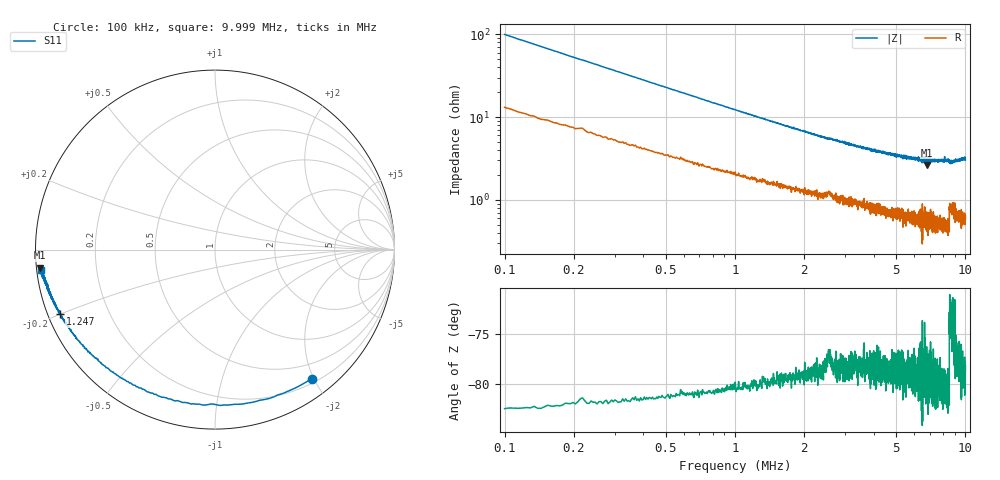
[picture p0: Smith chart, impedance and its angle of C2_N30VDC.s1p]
# HZ S RI R 50
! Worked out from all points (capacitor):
!   2020 points, 100 kHz to 9.999 MHz, reference 50 ohm
!   read as one part to ground: C = 15.1 nF near 149 kHz
!   lowest |Z| = 2.64 ohm at 6.797 MHz (marker M1)
!   S11 on the Smith chart (normalised r, x): 100 kHz: 0.26, -1.97; 1.247 MHz: 0.03, -0.20; 9.999 MHz: 0.01, -0.06
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100000  0.539 -0.72
119612  0.43 -0.7789
134321  0.3489 -0.8103
158836  0.2266 -0.8465
183351  0.1132 -0.8615
232381  -0.0701 -0.8658
276508  -0.2093 -0.8414
315732  -0.3053 -0.8187
364762  -0.4051 -0.778
413792  -0.4847 -0.7355
467725  -0.5514 -0.694
526561  -0.6113 -0.6492
595203  -0.6647 -0.606
766808  -0.753 -0.5141
982540  -0.8176 -0.4261
1247302  -0.8641 -0.3592
1340459  -0.8737 -0.3387
1767020  -0.9083 -0.2689
2576015  -0.9341 -0.2009
3816474  -0.9563 -0.1559
5052030  -0.9659 -0.1298
6287586  -0.9698 -0.117
6797498  -0.9751 -0.1015
7528045  -0.9733 -0.1182
8444906  -0.9726 -0.1151
8567481  -0.9637 -0.1022
8763601  -0.9628 -0.1062
9999157  -0.9699 -0.1157
